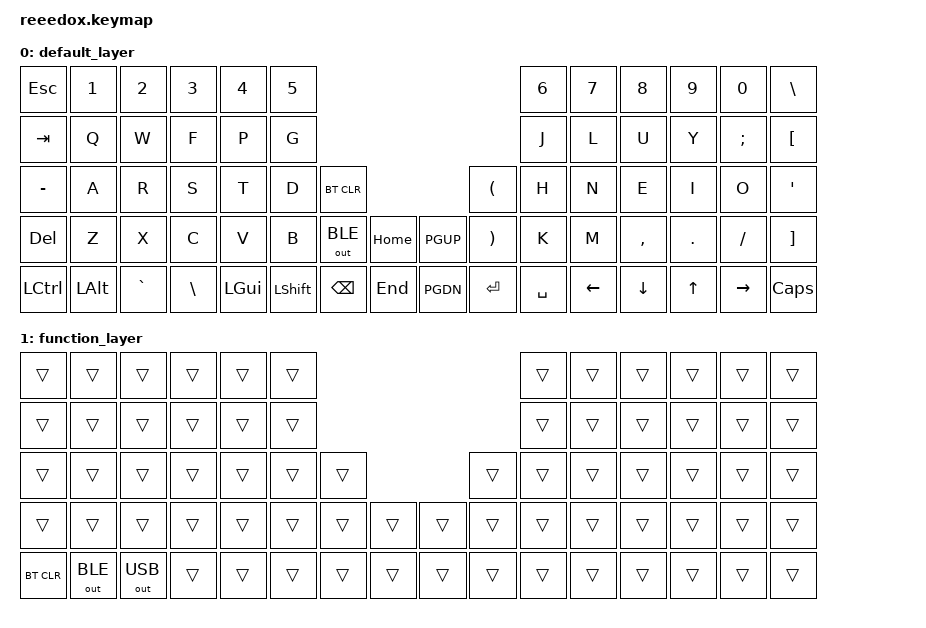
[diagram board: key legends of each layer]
#include <behaviors.dtsi>
#include <dt-bindings/zmk/bt.h>
#include <dt-bindings/zmk/keys.h>
#include <dt-bindings/zmk/outputs.h>

/ {
    keymap {
        compatible = "zmk,keymap";

        default_layer {
// ┌────┬────┬────┬────┬────┬────┐                          ┌────┬────┬────┬────┬────┬────┐
// │ ESC│  1 │  2 │  3 │  4 │  5 │                          │  6 │  7 │  8 │  9 │  0 │  - │
// ├────┼────┼────┼────┼────┼────┤                          ├────┼────┼────┼────┼────┼────┤
// │ TAB│  Q │  W │  F │  P │  G │                          │  J │  L │  U │  Y │  ; │  [ │
// ├────┼────┼────┼────┼────┼────┼────┐                ┌────┼────┼────┼────┼────┼────┼────┤
// │  - │  A │  R │  S │  T │  D │ =+ │                │  ( │  H │  N │  E │  I │  O │  ' │
// ├────┼────┼────┼────┼────┼────┼────┤                ├────┼────┼────┼────┼────┼────┼────┤
// │ DEL│  Z │  X │  C │  V │  B │ FN │                │  ) │  K │  M │  , │  . │  / │  ] │
// ├────┼────┼────┼────┼────┼────┴────┘                └────┴────┼────┼────┼────┼────┼────┤
// │CTRL│ ALT│ `~ │  \ │ OS │ ┌────┬────┬────┐  ┌────┬────┬────┐ │Left│Down│ Up │Rght│Caps│
// └────┴────┴────┴────┴────┘ │    │    │HOME│  │PGUP│    │    │ └────┴────┴────┴────┴────┘
//                            │SHFT│BKSP├────┤  ├────┤ENTR│ [] │
//                            │    │    │ END│  │PGDN│    │    │
//                            └────┴────┴────┘  └────┴────┴────┘
            bindings = <
    &kp ESC    &kp N1    &kp N2     &kp N3    &kp N4    &kp N5                                                  &kp N6     &kp N7    &kp N8    &kp N9    &kp N0    &kp BSLH
    &kp TAB    &kp Q     &kp W      &kp F     &kp P     &kp G                                                   &kp J      &kp L     &kp U     &kp Y     &kp SEMI  &kp LBKT
    &kp MINUS  &kp A     &kp R      &kp S     &kp T     &kp D      &bt BT_CLR                         &kp LPAR  &kp H      &kp N     &kp E     &kp I     &kp O     &kp SQT
    &kp DEL    &kp Z     &kp X      &kp C     &kp V     &kp B      &out OUT_BLE  &kp HOME   &kp PGUP  &kp RPAR  &kp K      &kp M     &kp COMMA &kp DOT   &kp FSLH  &kp RBKT
    &kp LCTRL  &kp LALT  &kp GRAVE  &kp BSLH  &kp LGUI  &kp LSHFT  &kp BSPC      &kp END    &kp PGDN  &kp RET   &kp SPACE  &kp LEFT  &kp DOWN  &kp UP    &kp RIGHT &kp CAPS
            >;
        };

        function_layer {
// ┌────┬────┬────┬────┬────┬────┐                          ┌────┬────┬────┬────┬────┬────┐
// │BOOT│    │    │    │    │    │                          │    │    │    │    │    │BOOT│
// ├────┼────┼────┼────┼────┼────┤                          ├────┼────┼────┼────┼────┼────┤
// │    │    │    │    │    │    │                          │    │    │  ü │    │    │    │
// ├────┼────┼────┼────┼────┼────┼────┐                ┌────┼────┼────┼────┼────┼────┼────┤
// │  — │  ä │    │    │  ™ │    │    │                │    │    │    │    │    │  ö │    │
// ├────┼────┼────┼────┼────┼────┼────┤                ├────┼────┼────┼────┼────┼────┼────┤
// │    │    │    │    │    │    │****│                │    │    │    │    │    │    │    │
// ├────┼────┼────┼────┼────┼────┴────┘                └────┴────┼────┼────┼────┼────┼────┤
// │BtCl│OutB│OutU│    │    │ ┌────┬────┬────┐  ┌────┬────┬────┐ │  ← │  ↓ │  ↑ │  → │    │
// └────┴────┴────┴────┴────┘ │    │    │    │  │    │    │    │ └────┴────┴────┴────┴────┘
//                            │    │    ├────┤  ├────┤    │    │
//                            │    │    │    │  │    │    │    │
//                            └────┴────┴────┘  └────┴────┴────┘
            bindings = <
    &trans     &trans       &trans       &trans    &trans    &trans                                            &trans    &trans    &trans    &trans    &trans    &trans
    &trans     &trans       &trans       &trans    &trans    &trans                                            &trans    &trans    &trans    &trans    &trans    &trans
    &trans     &trans       &trans       &trans    &trans    &trans    &trans                        &trans    &trans    &trans    &trans    &trans    &trans    &trans
    &trans     &trans       &trans       &trans    &trans    &trans    &trans    &trans    &trans    &trans    &trans    &trans    &trans    &trans    &trans    &trans
    &bt BT_CLR &out OUT_BLE &out OUT_USB &trans    &trans    &trans    &trans    &trans    &trans    &trans    &trans    &trans    &trans    &trans    &trans    &trans
            >;

        };
    };
};


// ┌────┬────┬────┬────┬────┬────┐                          ┌────┬────┬────┬────┬────┬────┐
// │    │    │    │    │    │    │                          │    │    │    │    │    │    │
// ├────┼────┼────┼────┼────┼────┤                          ├────┼────┼────┼────┼────┼────┤
// │    │    │    │    │    │    │                          │    │    │    │    │    │    │
// ├────┼────┼────┼────┼────┼────┼────┐                ┌────┼────┼────┼────┼────┼────┼────┤
// │    │    │    │    │    │    │    │                │    │    │    │    │    │    │    │
// ├────┼────┼────┼────┼────┼────┼────┤                ├────┼────┼────┼────┼────┼────┼────┤
// │    │    │    │    │    │    │    │                │    │    │    │    │    │    │    │
// ├────┼────┼────┼────┼────┼────┴────┘                └────┴────┼────┼────┼────┼────┼────┤
// │    │    │    │    │    │ ┌────┬────┬────┐  ┌────┬────┬────┐ │    │    │    │    │    │
// └────┴────┴────┴────┴────┘ │    │    │    │  │    │    │    │ └────┴────┴────┴────┴────┘
//                            │    │    ├────┤  ├────┤    │    │
//                            │    │    │    │  │    │    │    │
//                            └────┴────┴────┘  └────┴────┴────┘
